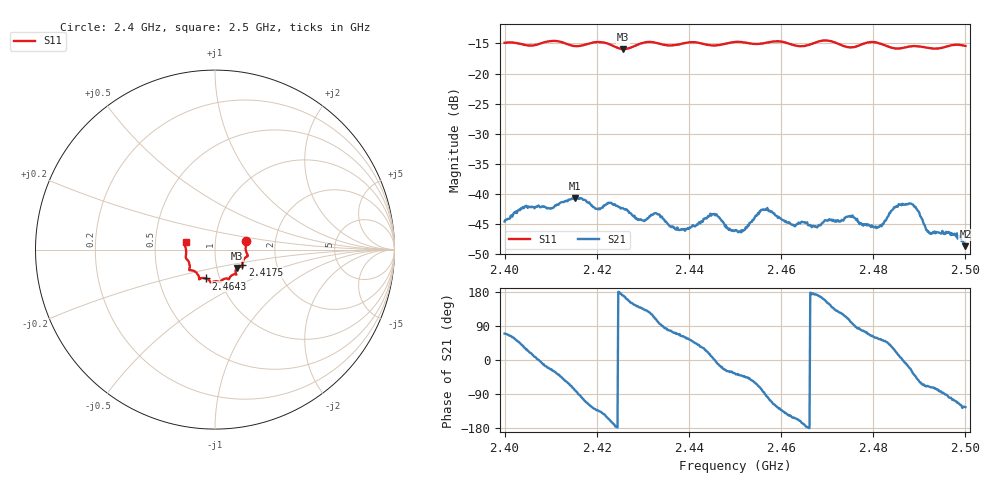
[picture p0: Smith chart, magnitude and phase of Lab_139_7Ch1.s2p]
# Hz S RI R 50
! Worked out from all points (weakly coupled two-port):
!   601 points, 2.4 GHz to 2.5 GHz, reference 50 ohm
!   highest |S21| = -40.67 dB at 2.4153 GHz (marker M1); lowest = -48.7 dB at 2.5 GHz (marker M2)
!   lowest |S11| = -15.9 dB at 2.4257 GHz (marker M3), VSWR 1.38, Z = 62.4 - j13.1 ohm
!   |S11| at or under -10 dB: start of sweep to end of sweep
!   S12 and S22 are empty: the file has one direction only
!   S11 on the Smith chart (normalised r, x): 2.4 GHz: 1.41, +0.14; 2.4175 GHz: 1.34, -0.23; 2.4643 GHz: 0.86, -0.28; 2.5 GHz: 0.72, +0.06
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2.4e9  0.1733 0.0487  0.00205 0.00552  0 0  0 0
2.404333e9  0.1717 0.0218  0.00663 0.00416  0 0  0 0
2.410167e9  0.1834 -0.0335  0.00692 -0.00315  0 0  0 0
2.415333e9  0.1582 -0.0593  0.00157 -0.00912  0 0  0 0
2.416667e9  0.1534 -0.0747  -0.00134 -0.00907  0 0  0 0
2.4175e9  0.1521 -0.0842  -0.00287 -0.00837  0 0  0 0
2.425667e9  0.1224 -0.1023  -0.00748 0.00128  0 0  0 0
2.429833e9  0.117 -0.1353  -0.00436 0.00417  0 0  0 0
2.433333e9  0.1131 -0.1374  -0.00118 0.00664  0 0  0 0
2.438667e9  0.0805 -0.1583  0.00229 0.00454  0 0  0 0
2.4455e9  0.0513 -0.163  0.0068 0.00014  0 0  0 0
2.45e9  0.0287 -0.1808  0.00404 -0.00288  0 0  0 0
2.4565e9  -0.0102 -0.179  -5.3e-05 -0.00734  0 0  0 0
2.464333e9  -0.0501 -0.1607  -0.00556 -0.00166  0 0  0 0
2.466667e9  -0.0761 -0.1592  -0.00524 0.000601  0 0  0 0
2.475e9  -0.1061 -0.1261  -0.00131 0.00633  0 0  0 0
2.480833e9  -0.143 -0.1102  0.00279 0.00452  0 0  0 0
2.483333e9  -0.1408 -0.0898  0.00479 0.0045  0 0  0 0
2.488167e9  -0.1609 -0.0491  0.00752 -0.00351  0 0  0 0
2.492e9  -0.161 -0.0254  0.0017 -0.00455  0 0  0 0
2.497667e9  -0.1704 0.0307  -0.00139 -0.00445  0 0  0 0
2.5e9  -0.164 0.0427  -0.00208 -0.00303  0 0  0 0
